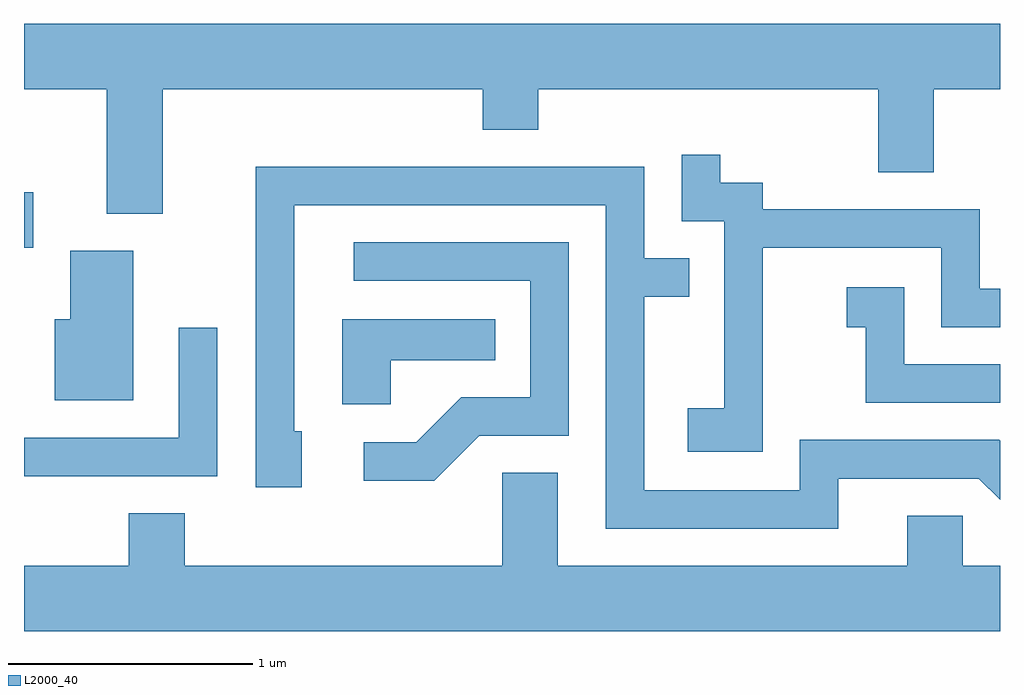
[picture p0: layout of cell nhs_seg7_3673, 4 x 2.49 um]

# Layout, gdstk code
import gdstk
lib = gdstk.Library(unit=1e-6, precision=1e-09)
def R(c, l, rs):  # rectangles x0, y0, x1, y1
    for r in rs: c.add(gdstk.rectangle(r[:2], r[2:], *l))
def P(c, l, *ps):  # polygons
    for p in ps: c.add(gdstk.Polygon(p, *l))
L2000_40 = (2000, 40)

nhs_seg7_3673 = lib.new_cell('nhs_seg7_3673')
R(nhs_seg7_3673, L2000_40, [(297.611,1735.866,297.649,1736.094)])
P(nhs_seg7_3673, L2000_40, [(298.179,1736.516),(299.491,1736.516),(299.491,1736.351),(299.719,1736.351),(299.719,1736.516),(301.111,1736.516),(301.111,1736.176),(301.339,1736.176),(301.339,1736.516),(301.611,1736.516),(301.611,1736.784),(297.611,1736.784),(297.611,1736.516),(297.951,1736.516),(297.951,1736.006),(298.179,1736.006)],
  [(300.639,1735.866),(301.371,1735.866),(301.371,1735.541),(301.611,1735.541),(301.611,1735.699),(301.529,1735.699),(301.529,1736.024),(300.639,1736.024),(300.639,1736.134),(300.464,1736.134),(300.464,1736.248),(300.306,1736.248),(300.306,1735.976),(300.481,1735.976),(300.481,1735.209),(300.331,1735.209),(300.331,1735.031),(300.639,1735.031)],
  [(300.949,1734.921),(301.524,1734.921),(301.611,1734.834),(301.611,1735.075),(301.607,1735.079),(300.791,1735.079),(300.791,1734.874),(300.154,1734.874),(300.154,1735.666),(300.338,1735.666),(300.338,1735.824),(300.154,1735.824),(300.154,1736.199),(298.561,1736.199),(298.561,1734.886),(298.749,1734.886),(298.749,1735.114),(298.719,1735.114),(298.719,1736.041),(299.996,1736.041),(299.996,1734.716),(300.949,1734.716)],
  [(299.477,1735.096),(299.844,1735.096),(299.844,1735.889),(298.963,1735.889),(298.963,1735.731),(299.686,1735.731),(299.686,1735.254),(299.404,1735.254),(299.219,1735.069),(299.003,1735.069),(299.003,1734.911),(299.292,1734.911)],
  [(298.059,1735.854),(297.801,1735.854),(297.801,1735.574),(297.736,1735.574),(297.736,1735.241),(298.059,1735.241)],
  [(301.611,1735.389),(301.219,1735.389),(301.219,1735.704),(300.983,1735.704),(300.983,1735.541),(301.061,1735.541),(301.061,1735.231),(301.611,1735.231)],
  [(299.114,1735.406),(299.543,1735.406),(299.543,1735.574),(298.916,1735.574),(298.916,1735.226),(299.114,1735.226)],
  [(298.404,1735.538),(298.246,1735.538),(298.246,1735.089),(297.611,1735.089),(297.611,1734.931),(298.404,1734.931)],
  [(301.611,1734.564),(301.459,1734.564),(301.459,1734.769),(301.231,1734.769),(301.231,1734.564),(299.799,1734.564),(299.799,1734.944),(299.571,1734.944),(299.571,1734.564),(298.269,1734.564),(298.269,1734.779),(298.041,1734.779),(298.041,1734.564),(297.611,1734.564),(297.611,1734.296),(301.611,1734.296)])

lib.write_gds('nhs_seg7_3673.gds')
